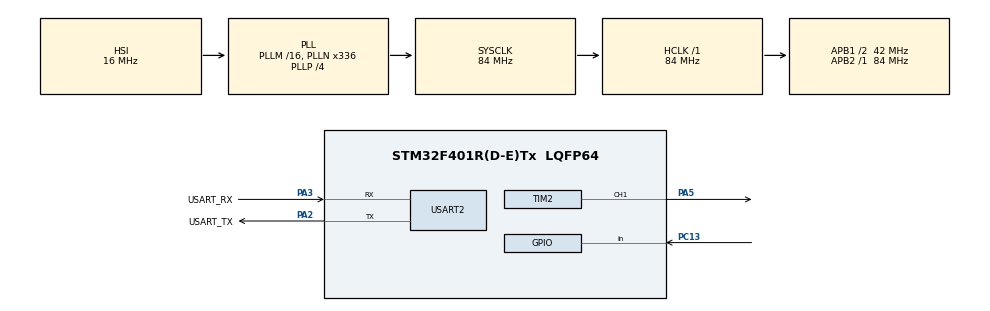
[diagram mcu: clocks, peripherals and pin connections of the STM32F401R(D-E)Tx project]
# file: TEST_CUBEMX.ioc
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Mcu.Family=STM32F4
Mcu.Name=STM32F401R(D-E)Tx
Mcu.Package=LQFP64
NVIC.PriorityGroup=NVIC_PRIORITYGROUP_4
NVIC.TIM2_IRQn=true\:0\:0\:false\:false\:true\:true\:true\:true
NVIC.TIM3_IRQn=true\:0\:0\:false\:false\:true\:true\:true\:true
PA13.GPIO_Label=TMS
PA13.Mode=Trace_Asynchronous_SW
PA13.Signal=SYS_JTMS-SWDIO
PA14.GPIO_Label=TCK
PA14.Mode=Trace_Asynchronous_SW
PA14.Signal=SYS_JTCK-SWCLK
PA2.GPIO_Label=USART_TX
PA2.GPIO_Mode=GPIO_MODE_AF_PP
PA2.GPIO_PuPd=GPIO_NOPULL
PA2.GPIO_Speed=GPIO_SPEED_FREQ_LOW
PA2.Mode=Asynchronous
PA2.Signal=USART2_TX
PA3.GPIO_Label=USART_RX
PA3.GPIO_Mode=GPIO_MODE_AF_PP
PA3.GPIO_PuPd=GPIO_NOPULL
PA3.GPIO_Speed=GPIO_SPEED_FREQ_LOW
PA3.Mode=Asynchronous
PA3.Signal=USART2_RX
PA5.Signal=S_TIM2_CH1_ETR
PB3.GPIO_Label=SWO
PB3.Mode=Trace_Asynchronous_SW
PB3.Signal=SYS_JTDO-SWO
PC13-ANTI_TAMP.Signal=GPIO_Input
PC14-OSC32_IN.Mode=LSE-External-Oscillator
PC14-OSC32_IN.Signal=RCC_OSC32_IN
PC15-OSC32_OUT.Mode=LSE-External-Oscillator
PC15-OSC32_OUT.Signal=RCC_OSC32_OUT
PH0\ -\ OSC_IN.Mode=HSE-External-Clock-Source
PH0\ -\ OSC_IN.Signal=RCC_OSC_IN
PH1\ -\ OSC_OUT.Mode=HSE-External-Clock-Source
PH1\ -\ OSC_OUT.Signal=RCC_OSC_OUT
ProjectManager.HeapSize=0x200
ProjectManager.StackSize=0x400
ProjectManager.TargetToolchain=STM32CubeIDE
RCC.48MHZClocksFreq_Value=48000000
RCC.AHBFreq_Value=84000000
RCC.APB1CLKDivider=RCC_HCLK_DIV2
RCC.APB1Freq_Value=42000000
RCC.APB1TimFreq_Value=84000000
RCC.APB2Freq_Value=84000000
RCC.APB2TimFreq_Value=84000000
RCC.CortexFreq_Value=84000000
RCC.HCLKFreq_Value=84000000
RCC.HSE_VALUE=8000000
RCC.HSI_VALUE=16000000
RCC.PLLN=336
RCC.PLLP=RCC_PLLP_DIV4
RCC.PLLQ=7
RCC.SYSCLKFreq_VALUE=84000000
RCC.SYSCLKSource=RCC_SYSCLKSOURCE_PLLCLK
RCC.VCOOutputFreq_Value=336000000
SH.S_TIM2_CH1_ETR.0=TIM2_CH1,Output Compare1 CH1
TIM2.Channel-Output\ Compare1\ CH1=TIM_CHANNEL_1
TIM2.OCMode_1=TIM_OCMODE_TOGGLE
TIM2.Period=4999
TIM2.Prescaler=8399
TIM3.Prescaler=8399
USART2.VirtualMode=VM_ASYNC
VP_TIM3_VS_ClockSourceINT.Mode=Internal
board=NUCLEO-F401RE

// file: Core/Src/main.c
/* USER CODE BEGIN Header */
/**
  ******************************************************************************
  * @file           : main.c
  * @brief          : Main program body
  ******************************************************************************
  * @attention
  *
  * Copyright (c) 2026 STMicroelectronics.
  * All rights reserved.
  *
  * This software is licensed under terms that can be found in the LICENSE file
  * in the root directory of this software component.
  * If no LICENSE file comes with this software, it is provided AS-IS.
  *
  ******************************************************************************
  */
/* USER CODE END Header */
#include "main.h"

/* USER CODE BEGIN Includes */
#include <stdio.h>

/* USER CODE END Includes */

TIM_HandleTypeDef htim2;
TIM_HandleTypeDef htim3;

UART_HandleTypeDef huart2;

void SystemClock_Config(void);
static void MX_GPIO_Init(void);
static void MX_USART2_UART_Init(void);
static void MX_TIM2_Init(void);
static void MX_TIM3_Init(void);

int main(void)
{

  /* MCU Configuration--------------------------------------------------------*/

  /* Reset of all peripherals, Initializes the Flash interface and the Systick. */
  HAL_Init();

  /* Configure the system clock */
  SystemClock_Config();

  /* Initialize all configured peripherals */
  MX_GPIO_Init();
  MX_USART2_UART_Init();
  MX_TIM2_Init();
  MX_TIM3_Init();
  /* USER CODE BEGIN 2 */
  HAL_TIM_OC_Start(&htim2, TIM_CHANNEL_1); //Metronome
  HAL_TIM_Base_Start_IT(&htim3); // button polling

  /* USER CODE END 2 */

  /* Infinite loop */
  while (1)
  {

  }
}

void SystemClock_Config(void)
{
  RCC_OscInitTypeDef RCC_OscInitStruct = {0};
  RCC_ClkInitTypeDef RCC_ClkInitStruct = {0};

  /** Configure the main internal regulator output voltage
  */
  __HAL_RCC_PWR_CLK_ENABLE();
  __HAL_PWR_VOLTAGESCALING_CONFIG(PWR_REGULATOR_VOLTAGE_SCALE2);

  /** Initializes the RCC Oscillators according to the specified parameters
  * in the RCC_OscInitTypeDef structure.
  */
  RCC_OscInitStruct.OscillatorType = RCC_OSCILLATORTYPE_HSI;
  RCC_OscInitStruct.HSIState = RCC_HSI_ON;
  RCC_OscInitStruct.HSICalibrationValue = RCC_HSICALIBRATION_DEFAULT;
  RCC_OscInitStruct.PLL.PLLState = RCC_PLL_ON;
  RCC_OscInitStruct.PLL.PLLSource = RCC_PLLSOURCE_HSI;
  RCC_OscInitStruct.PLL.PLLM = 16;
  RCC_OscInitStruct.PLL.PLLN = 336;
  RCC_OscInitStruct.PLL.PLLP = RCC_PLLP_DIV4;
  RCC_OscInitStruct.PLL.PLLQ = 7;
  if (HAL_RCC_OscConfig(&RCC_OscInitStruct) != HAL_OK)
  {
    Error_Handler();
  }

  /** Initializes the CPU, AHB and APB buses clocks
  */
  RCC_ClkInitStruct.ClockType = RCC_CLOCKTYPE_HCLK|RCC_CLOCKTYPE_SYSCLK
                              |RCC_CLOCKTYPE_PCLK1|RCC_CLOCKTYPE_PCLK2;
  RCC_ClkInitStruct.SYSCLKSource = RCC_SYSCLKSOURCE_PLLCLK;
  RCC_ClkInitStruct.AHBCLKDivider = RCC_SYSCLK_DIV1;
  RCC_ClkInitStruct.APB1CLKDivider = RCC_HCLK_DIV2;
  RCC_ClkInitStruct.APB2CLKDivider = RCC_HCLK_DIV1;

  if (HAL_RCC_ClockConfig(&RCC_ClkInitStruct, FLASH_LATENCY_2) != HAL_OK)
  {
    Error_Handler();
  }
}

static void MX_TIM2_Init(void)
{

  TIM_MasterConfigTypeDef sMasterConfig = {0};
  TIM_OC_InitTypeDef sConfigOC = {0};

  htim2.Instance = TIM2;
  htim2.Init.Prescaler = 8399;
  htim2.Init.CounterMode = TIM_COUNTERMODE_UP;
  htim2.Init.Period = 4999;
  htim2.Init.ClockDivision = TIM_CLOCKDIVISION_DIV1;
  htim2.Init.AutoReloadPreload = TIM_AUTORELOAD_PRELOAD_DISABLE;
  if (HAL_TIM_OC_Init(&htim2) != HAL_OK)
  {
    Error_Handler();
  }
  sMasterConfig.MasterOutputTrigger = TIM_TRGO_RESET;
  sMasterConfig.MasterSlaveMode = TIM_MASTERSLAVEMODE_DISABLE;
  if (HAL_TIMEx_MasterConfigSynchronization(&htim2, &sMasterConfig) != HAL_OK)
  {
    Error_Handler();
  }
  sConfigOC.OCMode = TIM_OCMODE_TOGGLE;
  sConfigOC.Pulse = 0;
  sConfigOC.OCPolarity = TIM_OCPOLARITY_HIGH;
  sConfigOC.OCFastMode = TIM_OCFAST_DISABLE;
  if (HAL_TIM_OC_ConfigChannel(&htim2, &sConfigOC, TIM_CHANNEL_1) != HAL_OK)
  {
    Error_Handler();
  }
  HAL_TIM_MspPostInit(&htim2);

}

static void MX_TIM3_Init(void)
{

  TIM_ClockConfigTypeDef sClockSourceConfig = {0};
  TIM_MasterConfigTypeDef sMasterConfig = {0};

  htim3.Instance = TIM3;
  htim3.Init.Prescaler = 8399;
  htim3.Init.CounterMode = TIM_COUNTERMODE_UP;
  htim3.Init.Period = 99;
  htim3.Init.ClockDivision = TIM_CLOCKDIVISION_DIV1;
  htim3.Init.AutoReloadPreload = TIM_AUTORELOAD_PRELOAD_DISABLE;
  if (HAL_TIM_Base_Init(&htim3) != HAL_OK)
  {
    Error_Handler();
  }
  sClockSourceConfig.ClockSource = TIM_CLOCKSOURCE_INTERNAL;
  if (HAL_TIM_ConfigClockSource(&htim3, &sClockSourceConfig) != HAL_OK)
  {
    Error_Handler();
  }
  sMasterConfig.MasterOutputTrigger = TIM_TRGO_RESET;
  sMasterConfig.MasterSlaveMode = TIM_MASTERSLAVEMODE_DISABLE;
  if (HAL_TIMEx_MasterConfigSynchronization(&htim3, &sMasterConfig) != HAL_OK)
  {
    Error_Handler();
  }

}

static void MX_USART2_UART_Init(void)
{

  huart2.Instance = USART2;
  huart2.Init.BaudRate = 115200;
  huart2.Init.WordLength = UART_WORDLENGTH_8B;
  huart2.Init.StopBits = UART_STOPBITS_1;
  huart2.Init.Parity = UART_PARITY_NONE;
  huart2.Init.Mode = UART_MODE_TX_RX;
  huart2.Init.HwFlowCtl = UART_HWCONTROL_NONE;
  huart2.Init.OverSampling = UART_OVERSAMPLING_16;
  if (HAL_UART_Init(&huart2) != HAL_OK)
  {
    Error_Handler();
  }

}

static void MX_GPIO_Init(void)
{
  GPIO_InitTypeDef GPIO_InitStruct = {0};

  /* GPIO Ports Clock Enable */
  __HAL_RCC_GPIOC_CLK_ENABLE();
  __HAL_RCC_GPIOH_CLK_ENABLE();
  __HAL_RCC_GPIOA_CLK_ENABLE();
  __HAL_RCC_GPIOB_CLK_ENABLE();

  /*Configure GPIO pin : PC13 */
  GPIO_InitStruct.Pin = GPIO_PIN_13;
  GPIO_InitStruct.Mode = GPIO_MODE_INPUT;
  GPIO_InitStruct.Pull = GPIO_PULLUP;
  HAL_GPIO_Init(GPIOC, &GPIO_InitStruct);

}

/* USER CODE BEGIN 4 */
/*
void HAL_TIM_PeriodElapsedCallback(TIM_HandleTypeDef *htim)
{
    if (htim->Instance == TIM3)
    {
        static uint8_t count = 0;

        if (HAL_GPIO_ReadPin(GPIOC, GPIO_PIN_13) == GPIO_PIN_RESET)
        {
            count++;
        }
        else
        {
            count = 0; // reset if button released at any point
        }

        if (count >= 5)
        {
            // button has been held low for 5 consecutive reads
            // button is confirmed pressed
            count = 0; // reset so it doesn't keep firing

            static uint8_t speed_idx = 1;
            speed_idx = (speed_idx + 1) % 2;

            uint32_t values[] = {
            		4999,
					4284,
					3749,
					3332,
					2999,
					2726,
					2499,
					2306,
					2141,
					1999,
					1874
            };

            uint32_t values[] = {
                        		4999,
            					1874
                        };
            __HAL_TIM_SET_AUTORELOAD(&htim2, values[speed_idx]);
            __HAL_TIM_SET_COUNTER(&htim2, 0); // force counter back to 0
        }
    }
}
*/

void HAL_TIM_PeriodElapsedCallback(TIM_HandleTypeDef *htim)
{
    if (htim->Instance == TIM3)
    {
        static uint8_t debounced_state = 1; // 1 (not pressed)
        static uint8_t counter = 5;
        static uint8_t changed = 0;

        uint8_t raw = HAL_GPIO_ReadPin(GPIOC, GPIO_PIN_13);

        if (raw == debounced_state) // reset counter if same as debounced state
        {
            counter = 5;
        }
        else
        {
            counter--;
            if (counter == 0)
            {
                debounced_state = raw; // update debounced state
                changed = 1;
                counter = 5;
            }
        }

        if (changed && debounced_state == GPIO_PIN_RESET)
        {
            changed = 0;

            //uint32_t values[] = {4999, 1874};
            uint32_t values[] = {
                       		4999,
           					4284,
           					3749,
           					3332,
           					2999,
           					2726,
           					2499,
           					2306,
           					2141,
           					1999,
           					1874
                       };

            static uint8_t speed_idx = 1;
            speed_idx = (speed_idx + 1) % (sizeof(values)/sizeof(uint32_t));

            __HAL_TIM_SET_AUTORELOAD(&htim2, values[speed_idx]);
            __HAL_TIM_SET_COUNTER(&htim2, 0);
        }
    }
}
/* USER CODE END 4 */

void Error_Handler(void)
{
  __disable_irq();
  while (1)
  {
  }
}
